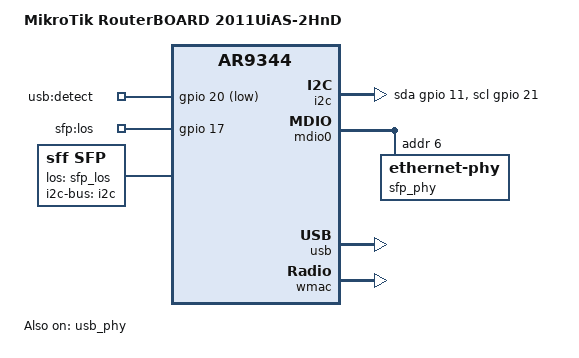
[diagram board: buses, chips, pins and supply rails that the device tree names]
// SPDX-License-Identifier: GPL-2.0-or-later OR MIT

#include "ar9344_mikrotik_routerboard-2011.dtsi"

#include <dt-bindings/gpio/gpio.h>
#include <dt-bindings/input/input.h>

/ {
	compatible = "mikrotik,routerboard-2011uias-2hnd", "qca,ar9344";
	model = "MikroTik RouterBOARD 2011UiAS-2HnD";

	gpio-export {
		compatible = "gpio-export";

		gpio_usb_detect {
			gpio-export,name = "usb:detect";
			gpios = <&gpio 20 GPIO_ACTIVE_LOW>;
		};

		sfp_los: gpio_sfp_los {
			gpio-export,name = "sfp:los";
			gpios = <&gpio 17 GPIO_ACTIVE_HIGH>;
		};
	};

	i2c: i2c {
		compatible = "i2c-gpio";
		sda-gpios = <&gpio 11 (GPIO_ACTIVE_HIGH | GPIO_OPEN_DRAIN)>;
		scl-gpios = <&gpio 21 (GPIO_ACTIVE_HIGH | GPIO_OPEN_DRAIN)>;
		i2c-gpio,delay-us = <2>;
		#address-cells = <1>;
		#size-cells = <0>;
	};

	sfp: sfp {
		compatible = "sff,sfp";
		i2c-bus = <&i2c>;
		los-gpios = <&sfp_los>;
		/*mod-def0-gpios = <&gpio __ GPIO_ACTIVE_HIGH>;
		tx-fault-gpios = <&gpio __ GPIO_ACTIVE_HIGH>;
		tx-disable-gpios = <&gpio __ GPIO_ACTIVE_HIGH>;*/
	};
};

&mdio0 {
	sfp_phy: ethernet-phy@6 {
		reg = <6>;
		sfp = <&sfp>;
	};
};

&sfp_port {
	phy-handle = <&sfp_phy>;
};

&usb {
	status = "okay";
};

&usb_phy {
	status = "okay";
};

&wmac {
	status = "okay";

	qca,no-eeprom;
};
